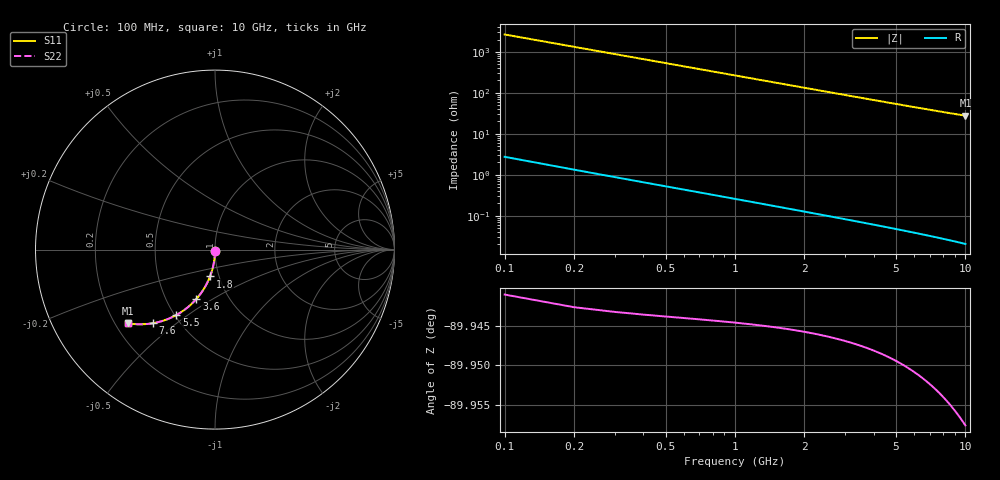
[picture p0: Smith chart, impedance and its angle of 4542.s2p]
# Hz S RI R 50.00
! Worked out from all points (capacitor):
!   100 points, 100 MHz to 10 GHz, reference 50 ohm
!   read as one part in shunt: C = 599 fF near 100 MHz
!   lowest |Z| = 27.6 ohm at 10 GHz (marker M1)
!   S11 on the Smith chart (normalised r, x): 100 MHz: 1.00, -0.02; 1.8 GHz: 0.91, -0.28; 3.6 GHz: 0.71, -0.42; 5.5 GHz: 0.51, -0.45; 7.6 GHz: 0.36, -0.41; 10 GHz: 0.25, -0.35
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1e8  0.000145 -0.00855  0.9997 -0.0103  0.9997 -0.0103  0.000145 -0.00855
2e8  -0.000126 -0.0171  0.9994 -0.0205  0.9994 -0.0205  -0.000126 -0.0171
3e8  -0.000572 -0.0256  0.9989 -0.0308  0.9989 -0.0308  -0.000572 -0.0256
4e8  -0.00119 -0.0342  0.9983 -0.041  0.9983 -0.041  -0.00119 -0.0342
5e8  -0.00199 -0.0427  0.9975 -0.0512  0.9975 -0.0512  -0.00199 -0.0427
6e8  -0.00296 -0.0512  0.9965 -0.0614  0.9965 -0.0614  -0.00296 -0.0512
8e8  -0.00542 -0.068  0.994 -0.0817  0.994 -0.0817  -0.00542 -0.068
1.1e9  -0.0104 -0.0931  0.9889 -0.1119  0.9889 -0.1119  -0.0104 -0.0931
1.4e9  -0.0168 -0.1177  0.9824 -0.1417  0.9824 -0.1417  -0.0168 -0.1177
1.8e9  -0.0277 -0.1496  0.9713 -0.1804  0.9713 -0.1804  -0.0277 -0.1496
2.1e9  -0.0374 -0.1727  0.9614 -0.2087  0.9614 -0.2087  -0.0374 -0.1727
2.5e9  -0.0524 -0.2023  0.9462 -0.2452  0.9462 -0.2452  -0.0524 -0.2023
2.9e9  -0.0694 -0.2302  0.9288 -0.28  0.9288 -0.28  -0.0694 -0.2302
3.4e9  -0.0933 -0.2626  0.9045 -0.3211  0.9045 -0.3211  -0.0933 -0.2626
3.6e9  -0.1035 -0.2747  0.894 -0.3367  0.894 -0.3367  -0.1035 -0.2747
4.3e9  -0.142 -0.3131  0.8547 -0.3874  0.8547 -0.3874  -0.142 -0.3131
5.1e9  -0.1898 -0.3492  0.8058 -0.4375  0.8058 -0.4375  -0.1898 -0.3492
5.5e9  -0.2146 -0.3641  0.7803 -0.4595  0.7803 -0.4595  -0.2146 -0.3641
6.7e9  -0.2904 -0.3967  0.7022 -0.5135  0.7022 -0.5135  -0.2904 -0.3967
7.6e9  -0.3466 -0.4103  0.6439 -0.5434  0.6439 -0.5434  -0.3466 -0.4103
8.4e9  -0.3948 -0.4156  0.5936 -0.5634  0.5936 -0.5634  -0.3948 -0.4156
1e10  -0.4837 -0.4105  0.4998 -0.5883  0.4998 -0.5883  -0.4837 -0.4105
